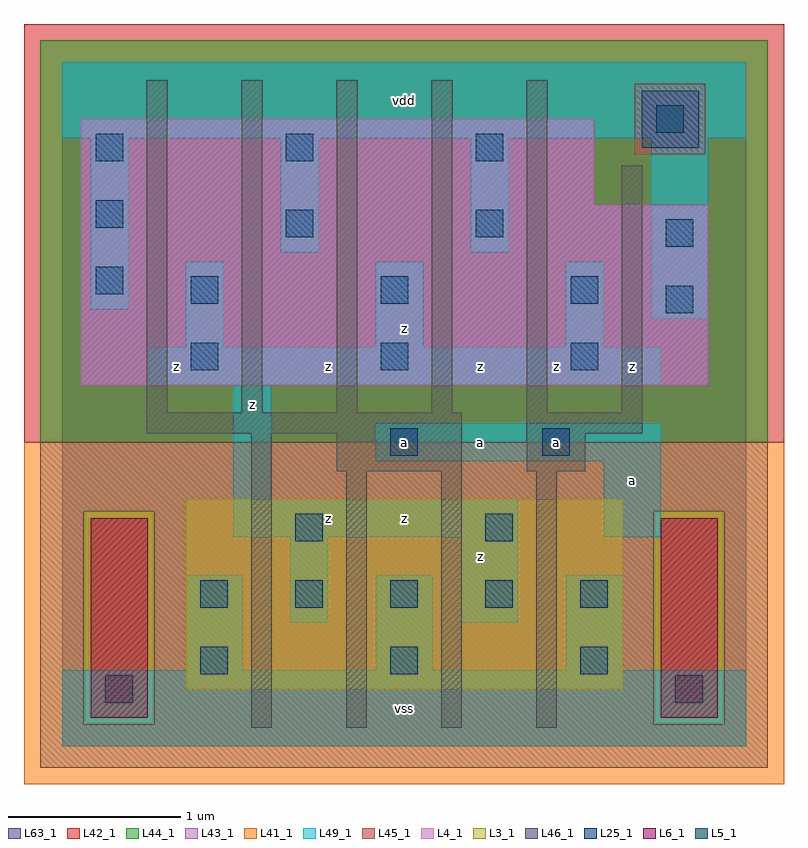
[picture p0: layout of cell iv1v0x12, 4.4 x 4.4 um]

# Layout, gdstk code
import gdstk
lib = gdstk.Library(unit=1e-6, precision=1e-09)
def R(c, l, rs):  # rectangles x0, y0, x1, y1
    for r in rs: c.add(gdstk.rectangle(r[:2], r[2:], *l))
def A(c, l, x, y, w, h, nx, ny, dx, dy):  # array of equal rectangles
    R(c, l, [(x+i*dx, y+j*dy, x+i*dx+w, y+j*dy+h) for i in range(nx) for j in range(ny)])
L3_1 = (3, 1)
L4_1 = (4, 1)
L5_1 = (5, 1)
L6_1 = (6, 1)
L25_1 = (25, 1)
L41_1 = (41, 1)
L42_1 = (42, 1)
L43_1 = (43, 1)
L44_1 = (44, 1)
L45_1 = (45, 1)
L46_1 = (46, 1)
L49_1 = (49, 1)
L63_1 = (63, 1)

iv1v0x12 = lib.new_cell('iv1v0x12')
R(iv1v0x12, L3_1, [(0.715,0.33,3.245,1.43)])
R(iv1v0x12, L4_1, [(0.11,2.09,3.74,3.135), (0.11,3.135,3.08,3.63)])
R(iv1v0x12, L5_1, [(3.355,3.465,3.685,3.795)])
R(iv1v0x12, L6_1, [(0.165,0.165,0.495,1.32), (3.465,0.165,3.795,1.32)])
A(iv1v0x12, L25_1, 0.8, 0.415, 0.16, 0.16, 3, 1, 1.1, 0)
A(iv1v0x12, L25_1, 0.8, 0.8, 0.16, 0.16, 5, 1, 0.55, 0)
A(iv1v0x12, L25_1, 0.745, 2.175, 0.16, 0.16, 3, 2, 1.1, 0.385)
A(iv1v0x12, L25_1, 0.195, 3.385, 0.16, 0.16, 3, 1, 1.1, 0)
R(iv1v0x12, L25_1, [(0.25,0.25,0.41,0.41), (3.55,0.25,3.71,0.41), (1.35,1.185,1.51,1.345), (2.45,1.185,2.61,1.345), (1.9,1.68,2.06,1.84), (2.78,1.68,2.94,1.84), (3.495,2.505,3.655,2.665), (0.195,2.615,0.355,2.775), (3.495,2.89,3.655,3.05), (1.295,2.945,1.455,3.105), (2.395,2.945,2.555,3.105), (0.195,3,0.355,3.16), (3.44,3.55,3.6,3.71)])
R(iv1v0x12, L41_1, [(-0.22,-0.22,4.18,1.76)])
R(iv1v0x12, L42_1, [(-0.22,1.76,4.18,4.18)])
R(iv1v0x12, L43_1, [(0.165,0.165,0.495,1.32), (3.465,0.165,3.795,1.32), (0.715,0.33,3.245,1.43), (0.11,2.09,3.74,3.135), (0.11,3.135,3.08,3.63), (3.355,3.465,3.685,3.795)])
R(iv1v0x12, L44_1, [(0.125,0.125,0.535,1.36), (3.425,0.125,3.835,1.36), (-0.125,1.76,4.085,3.425), (-0.125,3.425,3.315,3.835), (3.725,3.425,4.085,3.835), (-0.125,3.835,4.085,4.085)])
R(iv1v0x12, L45_1, [(-0.125,-0.125,4.085,0.125), (-0.125,0.125,0.125,1.36), (0.535,0.125,3.425,1.36), (3.835,0.125,4.085,1.36), (-0.125,1.36,4.085,1.76), (3.315,3.425,3.725,3.835)])
A(iv1v0x12, L46_1, 1.645, 0.105, 0.12, 1.485, 3, 1, 0.55, 0)
A(iv1v0x12, L46_1, 0.49, 1.93, 0.12, 1.925, 5, 1, 0.55, 0)
R(iv1v0x12, L46_1, [(1.095,0.105,1.215,1.81), (1.59,1.59,2.315,1.81), (2.69,1.59,3.03,1.81), (0.49,1.81,2.315,1.93), (2.69,1.81,3.36,1.93), (3.24,1.93,3.36,3.36)])
A(iv1v0x12, L49_1, 0.715, 0.44, 0.33, 0.55, 3, 1, 1.1, 0)
R(iv1v0x12, L49_1, [(0,0,3.96,0.44), (1.32,0.715,1.54,1.21), (2.31,0.715,2.64,1.21), (0.99,1.21,2.64,1.43), (3.135,1.21,3.465,1.65), (0.99,1.43,1.21,2.09), (1.815,1.65,3.465,1.87), (0.495,2.09,3.465,2.31), (0.715,2.31,0.935,2.805), (1.815,2.31,2.09,2.805), (2.915,2.31,3.135,2.805), (3.41,2.475,3.74,3.52), (0.165,2.53,0.385,3.52), (1.265,2.86,1.485,3.52), (2.365,2.86,2.585,3.52), (0,3.52,3.96,3.96)])
R(iv1v0x12, L63_1, [(0,0,3.96,3.96)])
iv1v0x12.add(gdstk.Label('z', (0.66,2.2), layer=49, texttype=1))
iv1v0x12.add(gdstk.Label('z', (1.54,1.32), layer=49, texttype=1))
iv1v0x12.add(gdstk.Label('z', (1.54,2.2), layer=49, texttype=1))
iv1v0x12.add(gdstk.Label('z', (1.1,1.98), layer=49, texttype=1))
iv1v0x12.add(gdstk.Label('vss', (1.98,0.22), layer=49, texttype=1))
iv1v0x12.add(gdstk.Label('z', (2.42,1.1), layer=49, texttype=1))
iv1v0x12.add(gdstk.Label('z', (1.98,1.32), layer=49, texttype=1))
iv1v0x12.add(gdstk.Label('a', (1.98,1.76), layer=49, texttype=1))
iv1v0x12.add(gdstk.Label('a', (2.42,1.76), layer=49, texttype=1))
iv1v0x12.add(gdstk.Label('a', (2.86,1.76), layer=49, texttype=1))
iv1v0x12.add(gdstk.Label('z', (2.42,2.2), layer=49, texttype=1))
iv1v0x12.add(gdstk.Label('z', (2.86,2.2), layer=49, texttype=1))
iv1v0x12.add(gdstk.Label('z', (1.98,2.42), layer=49, texttype=1))
iv1v0x12.add(gdstk.Label('vdd', (1.98,3.74), layer=49, texttype=1))
iv1v0x12.add(gdstk.Label('a', (3.3,1.54), layer=49, texttype=1))
iv1v0x12.add(gdstk.Label('z', (3.3,2.2), layer=49, texttype=1))

lib.write_gds('iv1v0x12.gds')
